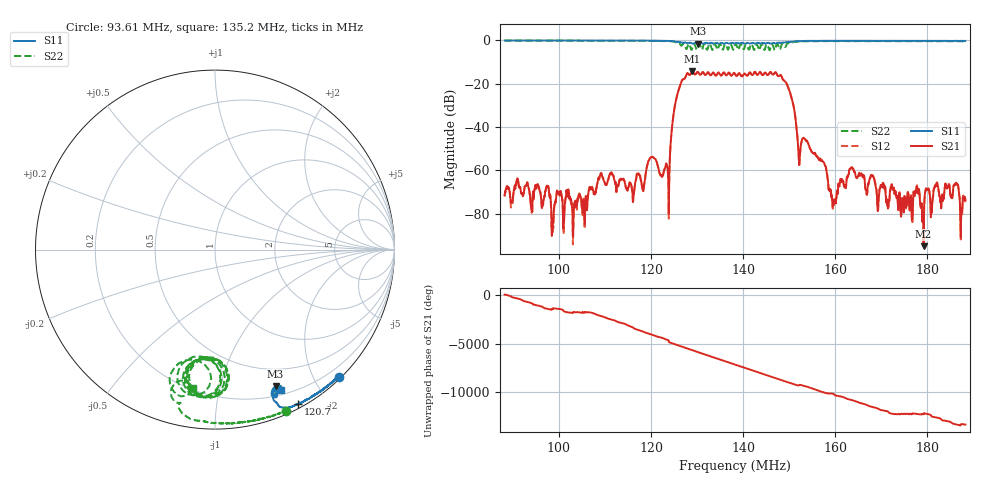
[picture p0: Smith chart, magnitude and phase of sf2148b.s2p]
# Hz S RI R 50
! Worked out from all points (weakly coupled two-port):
!   1601 points, 88.24 MHz to 188.2 MHz, reference 50 ohm
!   highest |S21| = -14.41 dB at 129 MHz (marker M1); lowest = -95.0 dB at 179.2 MHz (marker M2)
!   lowest |S11| = -1.6 dB at 130.2 MHz (marker M3), VSWR 10.91, Z = 15.1 - j74.7 ohm
!   |S11| at or under -10 dB: nowhere
!   |S22| runs from -4.6 to -0.1 dB; largest |S21 - S12| = 0.0011
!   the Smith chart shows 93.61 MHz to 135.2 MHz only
!   S11 on the Smith chart (normalised r, x): 93.61 MHz: 0.04, -2.37; 120.7 MHz: 0.05, -1.67; 135.2 MHz: 0.25, -1.55
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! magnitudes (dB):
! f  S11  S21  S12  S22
! 88.24 MHz  -0.1  -71.5  -72.2  -0.1
! 93.61 MHz  -0.1  -69.8  -69.6  -0.2
! 104.9 MHz  -0.1  -75.1  -74.8  -0.2
! 109.1 MHz  -0.2  -61.5  -61.6  -0.2
! 118.3 MHz  -0.2  -69.6  -69.4  -0.3
! 120.7 MHz  -0.2  -54.5  -54.4  -0.3
! 121.6 MHz  -0.2  -59.1  -59.1  -0.3
! 123.6 MHz  -0.3  -59.3  -59.4  -0.4
! 125.7 MHz  -0.7  -25.4  -25.4  -1.2
! 129 MHz  -1.5  -14.4  -14.4  -3.4
! 130.2 MHz  -1.6  -14.6  -14.6  -2.8
! 135.2 MHz  -1.2  -16.3  -16.3  -2.2
! 138.2 MHz  -1.4  -15.6  -15.6  -1.9
! 148.4 MHz  -1.1  -16.9  -16.9  -2.0
! 150.6 MHz  -0.6  -27.6  -27.5  -1.1
! 152.2 MHz  -0.5  -57.6  -57.6  -0.6
! 154.9 MHz  -0.3  -51.6  -51.5  -0.4
! 159.7 MHz  -0.3  -75.5  -76.4  -0.4
! 163.5 MHz  -0.3  -58.6  -58.6  -0.4
! 171.6 MHz  -0.3  -75.3  -74.6  -0.4
! 179.2 MHz  -0.3  -95.0  -95.0  -0.4
! 188.2 MHz  -0.3  -73.8  -74.6  -0.5
